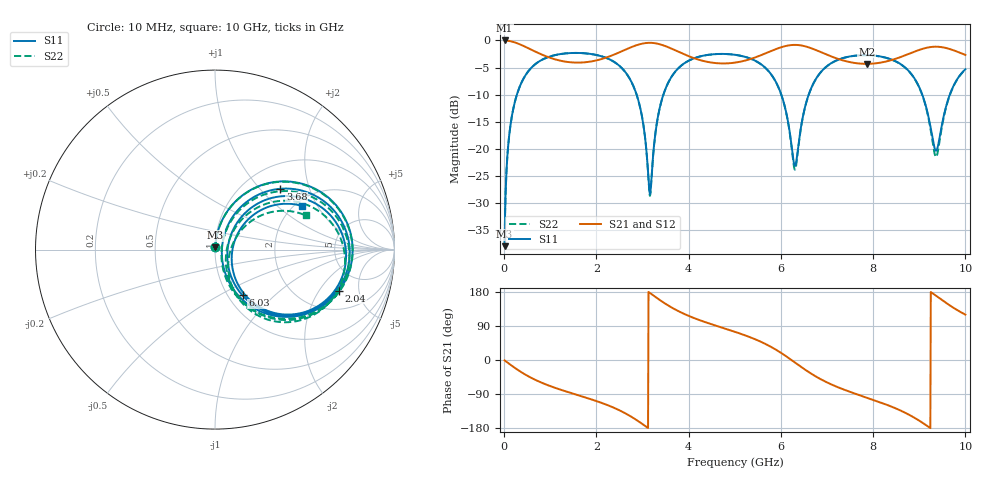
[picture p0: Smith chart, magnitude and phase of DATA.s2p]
! kisi 0.3.3: S-parameters of lane DATA (kisi's channel model of the board)
! board board.kicad_pcb
! subcircuit DATA_lane (single line)
! port 1 (a): DATA at U1.4 (transmitter end)
! port 2 (b): DATA at U2.2 (receiver end)
! track length 28.12 mm, delay 162.1 ps, reference 50.00 ohm per port
! the receiver's termination resistors are not included (they act as the receiver's termination)
! stackup: 2 copper layers, 1.49 mm, er and tand at 1 GHz; from board file (layer by layer in the README)
!  layers (um): F.Cu 30 / 1430 er 4.42 tand 0.02 / B.Cu 30
# HZ S RI R 5.000000e1
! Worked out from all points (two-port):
!   1000 points, 10 MHz to 10 GHz, reference 50 ohm
!   highest |S21| = -0.01 dB at 10 MHz (marker M1); lowest = -4.3 dB at 7.86 GHz (marker M2)
!   |S21| within 3 dB of the highest: 2.264 GHz to 4.033 GHz (1.769 GHz wide, 56.2 % of centre); 5.483 GHz to 7.109 GHz (1.626 GHz wide, 25.8 % of centre)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
!   lowest |S11| = -37.9 dB at 10 MHz (marker M3), VSWR 1.03, Z = 50.1 + j1.27 ohm
!   |S11| at or under -10 dB: 2.872 GHz to 3.452 GHz (579.9 MHz wide, 18.3 % of centre); 6.009 GHz to 6.602 GHz (592.7 MHz wide, 9.4 % of centre); 9.066 GHz to 9.661 GHz (595.8 MHz wide, 6.36 % of centre)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
!   |S22| runs from -37.9 to -2.3 dB; largest |S21 - S12| = 0
!   S11 on the Smith chart (normalised r, x): 10 MHz: 1.00, +0.03; 2.04 GHz: 3.18, -3.09; 3.68 GHz: 1.45, +1.30; 6.03 GHz: 1.17, -0.65; 10 GHz: 2.17, +1.50
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1e7  0.00139 0.0127  0.9985 -0.0166  0.9985 -0.0166  0.0014 0.0127
1.3e8  0.0352 0.1537  0.9627 -0.2033  0.9627 -0.2033  0.0354 0.1536
3.8e8  0.2251 0.3454  0.7613 -0.4891  0.7613 -0.4891  0.2264 0.3446
9.9e8  0.6593 0.2639  0.2547 -0.6447  0.2547 -0.6447  0.6618 0.2573
1.68e9  0.7618 -0.063  -0.063 -0.6223  -0.063 -0.6223  0.7604 -0.0759
2.04e9  0.6907 -0.2289  -0.2261 -0.6205  -0.2261 -0.6205  0.6856 -0.2431
2.81e9  0.1989 -0.3152  -0.7926 -0.3919  -0.7926 -0.3919  0.1889 -0.3209
3e9  0.0736 -0.1718  -0.918 -0.1763  -0.918 -0.1763  0.0671 -0.1741
3.16e9  0.0383 -0.00318  -0.9484 0.0516  -0.9484 0.0516  0.0367 -0.00429
3.34e9  0.0969 0.1801  -0.8796 0.2997  -0.8796 0.2997  0.1015 0.1772
3.68e9  0.3638 0.3389  -0.5828 0.5785  -0.5828 0.5785  0.375 0.3259
4.29e9  0.6995 0.1674  -0.1451 0.6349  -0.1451 0.6349  0.7055 0.1371
5.01e9  0.7175 -0.1662  0.1708 0.6008  0.1708 0.6008  0.707 -0.2036
6.03e9  0.1533 -0.255  0.8346 0.2499  0.8346 0.2499  0.1323 -0.265
6.31e9  0.0701 -0.000679  0.9021 -0.1121  0.9021 -0.1121  0.0645 -0.00448
6.67e9  0.2609 0.2681  0.6732 -0.5077  0.6732 -0.5077  0.2749 0.2516
7.86e9  0.7273 -0.0788  -0.0982 -0.6002  -0.0982 -0.6002  0.7162 -0.1416
8.34e9  0.6199 -0.2806  -0.3265 -0.5603  -0.3265 -0.5603  0.5877 -0.3395
8.97e9  0.2379 -0.3134  -0.7495 -0.3052  -0.7495 -0.3052  0.1952 -0.3384
9.36e9  0.0951 -0.0149  -0.8609 0.156  -0.8609 0.156  0.0814 -0.0224
9.66e9  0.2361 0.2086  -0.675 0.4881  -0.675 0.4881  0.249 0.1867
1e10  0.4849 0.2433  -0.3644 0.6383  -0.3644 0.6383  0.5053 0.1904
